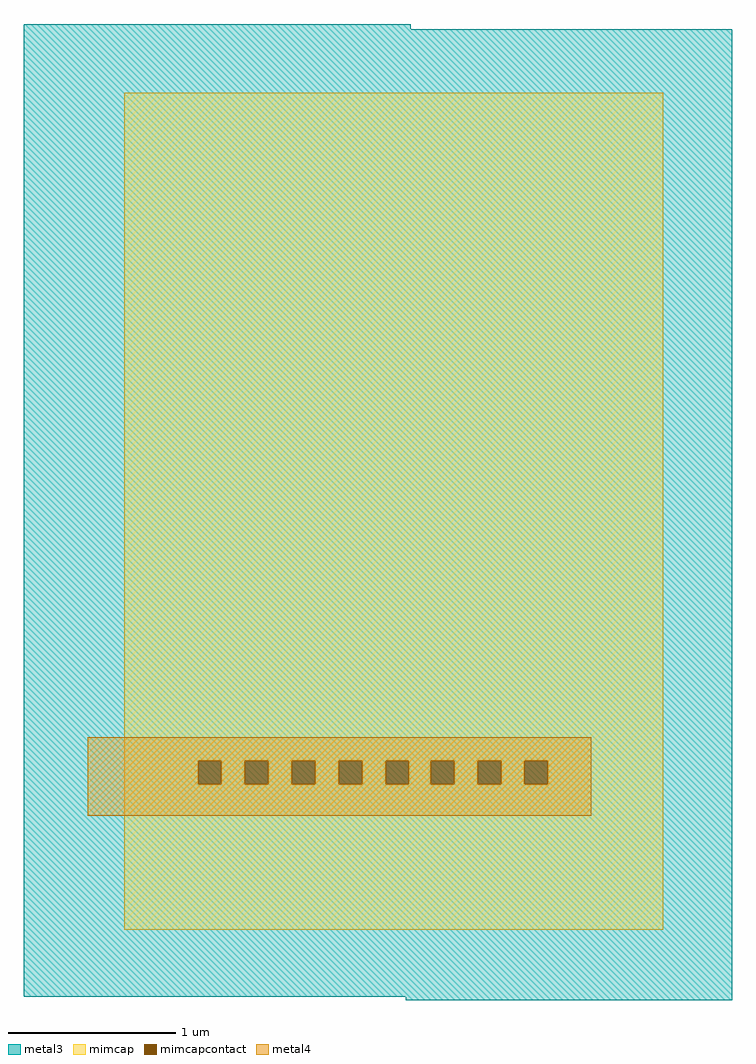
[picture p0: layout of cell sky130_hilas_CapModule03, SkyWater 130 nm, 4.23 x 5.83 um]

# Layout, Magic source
magic
tech sky130A
<< metal3 >>
rect 0 580 231 583
rect 0 2 423 580
rect 228 0 423 2
<< mimcap >>
rect 60 143 382 542
rect 60 129 104 143
rect 118 129 132 143
rect 146 129 160 143
rect 174 129 188 143
rect 202 129 216 143
rect 230 129 243 143
rect 257 129 271 143
rect 285 129 299 143
rect 313 129 382 143
rect 60 42 382 129
<< mimcapcontact >>
rect 104 129 118 143
rect 132 129 146 143
rect 160 129 174 143
rect 188 129 202 143
rect 216 129 230 143
rect 243 129 257 143
rect 271 129 285 143
rect 299 129 313 143
<< metal4 >>
rect 38 143 339 157
rect 38 129 104 143
rect 118 129 132 143
rect 146 129 160 143
rect 174 129 188 143
rect 202 129 216 143
rect 230 129 243 143
rect 257 129 271 143
rect 285 129 299 143
rect 313 129 339 143
rect 38 110 339 129
<< properties >>
string LEFsite unithd
string LEFclass CORE
string LEFsymmetry X Y R90
<< end >>
